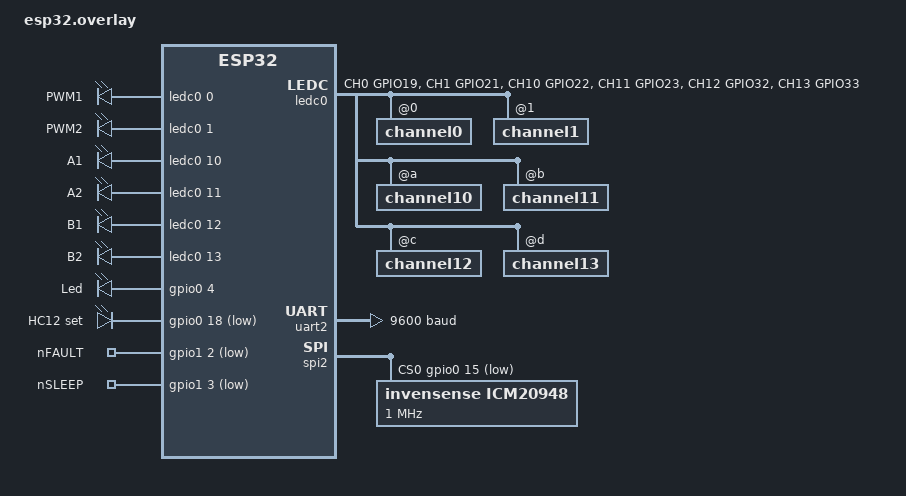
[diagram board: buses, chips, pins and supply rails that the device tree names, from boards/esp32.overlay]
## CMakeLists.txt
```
cmake_minimum_required(VERSION 3.20.0)
find_package(Zephyr REQUIRED HINTS $ENV{ZEPHYR_BASE})
project(robot-brain)

FILE(GLOB app_sources src/*.c)
target_sources(app PRIVATE ${app_sources})
```

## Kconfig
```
menu "Zephyr"
source "Kconfig.zephyr"
endmenu

module = BRAIN
module-str = BRAIN
source "subsys/logging/Kconfig.template.log_config"
```

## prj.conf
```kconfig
# pins
CONFIG_GPIO=y
CONFIG_PWM=y

# Set up logging
CONFIG_LOG=y
CONFIG_LOG_DEFAULT_LEVEL=0

# uart settings
CONFIG_SERIAL=y
CONFIG_UART_INTERRUPT_DRIVEN=y
CONFIG_UART_LINE_CTRL=y

# Motion sensor
CONFIG_SPI=n
CONFIG_SENSOR=n
CONFIG_ICM20948_DEBUG_SERVICE=n

# events
CONFIG_EVENTS=y

# bluetooth
CONFIG_BT=y
CONFIG_BT_SMP=y
CONFIG_BT_SIGNING=y
CONFIG_BT_PERIPHERAL=y
CONFIG_BT_DIS=y
CONFIG_BT_ATT_PREPARE_COUNT=5
CONFIG_BT_PRIVACY=y
CONFIG_BT_DEVICE_NAME="rupert"

# custom drivers
CONFIG_COMMAND_LIB=y
CONFIG_COMMAND_GATT=y
```

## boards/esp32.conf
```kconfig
# Use ledc pwm
CONFIG_PWM_LED_ESP32=y
```

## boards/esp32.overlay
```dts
#include <zephyr/dt-bindings/pwm/pwm.h>
#include <dt-bindings/pinctrl/esp32-pinctrl.h>

/ {
	aliases {
		led0 = &led0;
		a1 = &pwm_a1;
		a2 = &pwm_a2;
		b1 = &pwm_b1;
		b2 = &pwm_b2;
		weapon = &pwm2;
		hc12 = &uart2;
		hc12-set = &hc12_set;
		nfault = &nfault;
		nsleep = &nsleep;
		motion-sensor = &spi2;
	};

	pwm_pins {
		compatible = "pwm-leds";
		pwm1: pwm1_gpio19 {
			label = "PWM1";
			pwms = <&ledc0 0 0 PWM_POLARITY_NORMAL>;
		};
		pwm2: pwm2_gpio21 {
			label = "PWM2";
			pwms = <&ledc0 1 0 PWM_POLARITY_NORMAL>;
		};
		pwm_a1: pwm_a1_gpio22 {
			label = "A1";
			pwms = <&ledc0 10 0 PWM_POLARITY_NORMAL>;
		};
		pwm_a2: pwm_a2_gpio23 {
			label = "A2";
			pwms = <&ledc0 11 0 PWM_POLARITY_NORMAL>;
		};
		pwm_b1: pwm_b1_gpio32 {
			label = "B1";
			pwms = <&ledc0 12 0 PWM_POLARITY_NORMAL>;
		};
		pwm_b2: pwm_b2_gpio33 {
			label = "B2";
			pwms = <&ledc0 13 0 PWM_POLARITY_NORMAL>;
		};
	};

	output_pins {
		compatible = "gpio-leds";
		led0: led0 {
			label = "Led";
			gpios = <&gpio0 4 GPIO_ACTIVE_HIGH>;
		};
		hc12_set: hc12_set {
			label = "HC12 set";
			gpios = <&gpio0 18 GPIO_ACTIVE_LOW>;
		};
	};

	input_pins {
		compatible = "gpio-keys";
		nfault: nfault {
			label = "nFAULT";
        	gpios = <&gpio1 2 GPIO_ACTIVE_LOW>;
        };
		nsleep: nsleep {
			label = "nSLEEP";
        	gpios = <&gpio1 3 GPIO_ACTIVE_LOW>;
        };
	};
};

&pinctrl {
	ledc0_custom: ledc0_custom {
		group1 {
			pinmux = <LEDC_CH0_GPIO19>,  <LEDC_CH1_GPIO21>, // PWM pins
					 <LEDC_CH10_GPIO22>, <LEDC_CH11_GPIO23>, // Motor A
					 <LEDC_CH12_GPIO32>, <LEDC_CH13_GPIO33>; // Motor B
			output-enable;
		};
	};
};

&ledc0 {
	pinctrl-0 = <&ledc0_custom>;
	pinctrl-names = "default";
	status = "okay";
	#address-cells = <1>;
	#size-cells = <0>;
	channel0@0 {
		reg = <0x0>;
		timer = <0>;
	};
	channel1@1 {
		reg = <0x1>;
		timer = <0>;
	};
	channel10@a {
		reg = <0xa>;
		timer = <0>;
	};
	channel11@b {
		reg = <0xb>;
		timer = <0>;
	};
	channel12@c {
		reg = <0xc>;
		timer = <0>;
	};
	channel13@d {
		reg = <0xd>;
		timer = <0>;
	};
};

&uart1 {
	status = "disabled";
};

&uart2 {
	status = "okay";
	current-speed = <9600>;
	pinctrl-0 = <&uart2_default>;
	pinctrl-names = "default";
};

&gpio0 {
	status = "okay";
};

&gpio1 {
	status = "okay";
};

&spi2 {
	compatible = "espressif,esp32-spi";
	status = "okay";
	cs-gpios = <&gpio0 15 GPIO_ACTIVE_LOW>;
	icm20948@0 {
		compatible = "invensense,icm20948";
		spi-max-frequency = <1000000>;
		reg = <0>;
	};
};

&spi3 {
	status = "disabled";
};

&i2c0 {
	status = "disabled";
};
```

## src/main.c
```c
#include <zephyr/device.h>
#include <zephyr/drivers/gpio.h>
#include <zephyr/drivers/pwm.h>
#include <zephyr/drivers/sensor.h>
#include <zephyr/drivers/spi.h>
#include <zephyr/logging/log.h>

#include "motor.h"
#include <command_lib/gatt_command.h>

// Register logger
LOG_MODULE_REGISTER(brain);

// GPIO structs
const struct gpio_dt_spec led0 = GPIO_DT_SPEC_GET(DT_ALIAS(led0), gpios);
const struct gpio_dt_spec nsleep = GPIO_DT_SPEC_GET(DT_ALIAS(nsleep), gpios);
struct gpio_callback sleep_callback;

// Sensor
const struct device *motion_sensor = DEVICE_DT_GET(DT_ALIAS(motion_sensor));

struct motor_control motor_a = {
    .en1 = PWM_DT_SPEC_GET(DT_ALIAS(a1)),
    .en2 = PWM_DT_SPEC_GET(DT_ALIAS(a2)),
};

struct motor_control motor_b = {
    .en1 = PWM_DT_SPEC_GET(DT_ALIAS(b1)),
    .en2 = PWM_DT_SPEC_GET(DT_ALIAS(b2)),
};

// Create workthread
K_THREAD_STACK_DEFINE(main_workthread_area, 512);
static struct k_work_q work_q;

/**
 * @brief Blink led0
 */
void blink() {
    gpio_pin_set_dt(&led0, 1);
    k_msleep(50);
    gpio_pin_set_dt(&led0, 0);
}

// Define blink worker
K_WORK_DEFINE(blink_worker, blink);

/**
 * @brief Blink led0 in workthread
 */
static inline void blink_wt() { k_work_submit(&blink_worker); }

/**
 * @brief Thread function that reads new messages and acts upon them
 *   This function is supposed to be used in a thread
 */
static void message_handler(void *p1, void *p2, void *p3) {
    ARG_UNUSED(p1);
    ARG_UNUSED(p2);
    ARG_UNUSED(p3);
    // Receive incoming commands
    struct command_data command;
    while (true) {
        if (get_command(&command) != 0) {
            // Did not receive command before timeout, turn motors off
            dc_motor_off(&motor_a);
            dc_motor_off(&motor_b);
            LOG_WRN("Command timed out, turn motor and weapon off");
            continue;
        }
        LOG_INF("New command %d (id %d) with value %d", command.key, command.id,
                command.value);
        blink_wt();
        switch (command.key) {
        case error_command: // an error ocurred!
            // acknowledge command, even though an error occurred
            set_ack(command.id);
            LOG_WRN("Warning: received error command (error %d)",
                    command.value);
            break;

        case ack_command: // set ack event when receiving ack
            set_ack(command.id);
            break;

        case ping_command: // ack ping command
            send_ack(command, 0);
            break;

        case left_motor_command:
            set_speed(&motor_a, command.value);
            send_ack(command, 0);
            break;

        case right_motor_command:
            set_speed(&motor_b, command.value);
            send_ack(command, 0);
            break;

        default: // unrecognized command, send error
            send_error(command, error_unrecognized);
            LOG_WRN("Warning: Unrecognized command");
            break;
        }
    }
}

// Define thread for handling incoming messages
#define MSGTHREAD_SIZE 1408
#define MSGTHREAD_PRI 4
K_THREAD_DEFINE(msg_handler_tid, MSGTHREAD_SIZE, message_handler, NULL, NULL,
                NULL, MSGTHREAD_PRI, 0, 0);

static void sleep_worker_func() {
    static int sleep_mode = 0;
    // 50ms debounce protection!
    k_msleep(50);
    // Read nsleep pin to see if device should sleep or wake up
    int state = gpio_pin_get_dt(&nsleep);
    if (state < 0) {
        LOG_ERR("Error %d: failed to read %s pin %d", state, nsleep.port->name,
                nsleep.pin);
    }
    // Return if sleep mode is equal to state
    if (sleep_mode == state) {
        return;
    }
    // Save state so it does not duplicate
    sleep_mode = state;
    if (sleep_mode) {
        // Stop communication
        k_thread_suspend(msg_handler_tid);
        // Turn off motors and weapon
        dc_motor_off(&motor_a);
        dc_motor_off(&motor_b);
        LOG_INF("Sleep mode on");
    } else {
        k_thread_resume(msg_handler_tid);
        LOG_INF("Sleep mode off");
    }
    blink();
}

// Define sleep worker
// (sleep and wake device in workthread, not interrupt)
K_WORK_DEFINE(sleep_worker, sleep_worker_func);

/**
 * @brief Callback for sleep-pin interrupt on sleep
 */
static void sleep_handler(const struct device *port, struct gpio_callback *cb,
                          uint32_t pins) {
    ARG_UNUSED(port);
    ARG_UNUSED(cb);
    ARG_UNUSED(pins);
    k_work_submit(&sleep_worker);
}

void main(void) {
    // Save error codes during initialization
    int err;

    // Init and start workqueue
    k_work_queue_init(&work_q);
    k_work_queue_start(&work_q, main_workthread_area,
                       K_THREAD_STACK_SIZEOF(main_workthread_area), 5, NULL);

    // Init motor control
    dc_motor_init(&motor_a, 0);
    dc_motor_init(&motor_b, 1);

    // Start bluetooth service
    peripheral_enable();

    // Configure nsleep pin and add sleep callback to it
    err = gpio_pin_configure_dt(&nsleep, GPIO_INPUT);
    if (err) {
        LOG_ERR("Error %d: failed to configure %s pin %d", err,
                nsleep.port->name, nsleep.pin);
    } else {
        // Check for sleep mode at initialization
        k_work_submit(&sleep_worker);
    }
    err = gpio_pin_interrupt_configure_dt(&nsleep, GPIO_INT_EDGE_BOTH);
    if (err) {
        LOG_ERR("Error %d: failed to configure interrupt on %s pin %d", err,
                nsleep.port->name, nsleep.pin);
    }
    gpio_init_callback(&sleep_callback, sleep_handler, BIT(nsleep.pin));
    err = gpio_add_callback(nsleep.port, &sleep_callback);
    if (err) {
        LOG_ERR("Error %d: failed to add callback to %s", err,
                nsleep.port->name);
    }

    // Init led0
    err = gpio_pin_configure_dt(&led0, GPIO_OUTPUT_INACTIVE);
    if (err) {
        LOG_ERR("Error %d: failed to configure %s pin %d", err, led0.port->name,
                led0.pin);
    }

    // Blink led when ready
    blink_wt();
    LOG_INF("Setup finished");
}
```

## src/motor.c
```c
#include "motor.h"

// Use logger from main.c
LOG_MODULE_DECLARE(brain);

// How much the speed will chenge each interval
#define DC_MOTOR_SPEED_STEP 10
#define BL_MOTOR_SPEED_STEP 2

// Length of delay between each change of speed
#define DC_MOTOR_SPEED_INTERVAL K_MSEC(40)
#define BL_MOTOR_SPEED_INTERVAL K_MSEC(20)

// Create threads for gradually controlling motor speed
#define STACK_SIZE 512
#define THREAD_PRIORITY 5
#define NUM_THREADS 2
// Structs for motor control threads
static struct k_thread motor_threads[NUM_THREADS];
// Define stack area for motor threads
K_THREAD_STACK_ARRAY_DEFINE(stacks, NUM_THREADS, STACK_SIZE);

// Define brushless and dc motor pwm periods
static const uint32_t DC_MOTOR_PERIOD = PWM_MSEC(1U);
static const uint32_t BL_MOTOR_PERIOD = PWM_MSEC(20U);
static const uint32_t BL_MOTOR_PULSE_MID = PWM_USEC(1500);
static const uint32_t BL_MOTOR_PULSE_RANGE = PWM_USEC(500U);
static const uint32_t BL_MOTOR_PULSE_MIN =
    BL_MOTOR_PULSE_MID - BL_MOTOR_PULSE_RANGE;
static const uint32_t BL_MOTOR_PULSE_MAX =
    BL_MOTOR_PULSE_MID + BL_MOTOR_PULSE_RANGE;

void dc_motor_init(struct motor_control *motor, int motor_index) {
    if (motor_index > NUM_THREADS - 1) {
        LOG_ERR(
            "Could not initialize motor with index %d. Can only have %d motors",
            motor_index, NUM_THREADS);
        return;
    }
    motor->speed = 127;
    motor->set_speed_func = &set_dc_motor_speed;
    motor->speed_step = DC_MOTOR_SPEED_STEP;
    motor->interval = DC_MOTOR_SPEED_INTERVAL;
    motor->thread =
        k_thread_create(&motor_threads[motor_index], stacks[motor_index],
                        STACK_SIZE, motor_speed_thread_callback, motor, NULL,
                        NULL, THREAD_PRIORITY, 0, K_NO_WAIT);
    set_dc_motor_speed(&motor->en1, &motor->en2, motor->speed);
}

void bl_motor_init(struct motor_control *motor, int motor_index) {
    if (motor_index > NUM_THREADS - 1) {
        LOG_ERR(
            "Could not initialize motor with index %d. Can only have %d motors",
            motor_index, NUM_THREADS);
        return;
    }
    motor->speed = 127;
    motor->set_speed_func = &set_bl_motor_speed;
    motor->speed_step = BL_MOTOR_SPEED_STEP;
    motor->interval = BL_MOTOR_SPEED_INTERVAL;
    motor->thread =
        k_thread_create(&motor_threads[motor_index], stacks[motor_index],
                        STACK_SIZE, motor_speed_thread_callback, motor, NULL,
                        NULL, THREAD_PRIORITY, 0, K_NO_WAIT);
    set_bl_motor_speed(&motor->en1, NULL, motor->speed);
}

void dc_motor_off(struct motor_control *motor) {
    pwm_set_dt(&motor->en1, DC_MOTOR_PERIOD, 0);
    pwm_set_dt(&motor->en2, DC_MOTOR_PERIOD, 0);
    motor->speed = 127;
}

void bl_motor_off(struct motor_control *motor) {
    pwm_set_dt(&motor->en1, BL_MOTOR_PERIOD, BL_MOTOR_PULSE_MID);
    motor->speed = 127;
}

void set_speed(struct motor_control *motor, uint8_t speed_u) {
    motor->speed = speed_u;
    k_thread_resume(motor->thread);
}

int32_t convert_speed(uint8_t speed_u) {
    int32_t speed = speed_u - 127;
    if (speed > 100) {
        speed = 100;
    } else if (speed < -100) {
        speed = -100;
    }
    return speed;
}

int set_dc_motor_speed(const struct pwm_dt_spec *en1,
                       const struct pwm_dt_spec *en2, uint8_t speed_u) {
    int32_t speed = convert_speed(speed_u);
    uint32_t pulse;
    int err1, err2;
    if (speed == 0) {
        err1 = pwm_set_dt(en1, DC_MOTOR_PERIOD, 0);
        err2 = pwm_set_dt(en2, DC_MOTOR_PERIOD, 0);
    } else if (speed > 0) {
        pulse = speed * ((DC_MOTOR_PERIOD - 1) / 100);
        if (pulse > DC_MOTOR_PERIOD) {
            pulse = DC_MOTOR_PERIOD;
        }
        err1 = pwm_set_dt(en1, DC_MOTOR_PERIOD, pulse);
        err2 = pwm_set_dt(en2, DC_MOTOR_PERIOD, 0);
    } else {
        speed = -1 * speed;
        pulse = speed * ((DC_MOTOR_PERIOD - 1) / 100);
        if (pulse > DC_MOTOR_PERIOD) {
            pulse = DC_MOTOR_PERIOD;
        }
        err1 = pwm_set_dt(en1, DC_MOTOR_PERIOD, 0);
        err2 = pwm_set_dt(en2, DC_MOTOR_PERIOD, pulse);
    }
    return err1 | err2;
}

int set_bl_motor_speed(const struct pwm_dt_spec *en1,
                       const struct pwm_dt_spec *en2, uint8_t speed_u) {
    ARG_UNUSED(en2);
    int32_t speed = convert_speed(speed_u);
    uint32_t pulse_offset = speed * (BL_MOTOR_PULSE_RANGE / 100);
    uint32_t pulse = BL_MOTOR_PULSE_MID + pulse_offset;
    if (pulse > BL_MOTOR_PULSE_MAX) {
        pulse = BL_MOTOR_PULSE_MAX;
    } else if (pulse < BL_MOTOR_PULSE_MIN) {
        pulse = BL_MOTOR_PULSE_MIN;
    }
    return pwm_set_dt(en1, BL_MOTOR_PERIOD, pulse);
}

void motor_speed_thread_callback(void *p1, void *p2, void *p3) {
    // Motor control struct
    struct motor_control *motor = p1;
    // Thread id of this thread
    k_tid_t thread_id = motor->thread;
    // Speed-step of this motor
    uint8_t step = motor->speed_step;
    // Timoeut of this function
    k_timeout_t interval = motor->interval;
    // Variable to keep desired speed, current speed and the difference
    uint8_t speed_u;
    uint8_t current_speed_u = 127;
    int16_t difference;
    // Callback function for setting the speed
    int (*set_speed_func)(const struct pwm_dt_spec *,
                          const struct pwm_dt_spec *, uint8_t) =
        motor->set_speed_func;

    while (true) {
        // Suspend before run
        if (motor->speed == current_speed_u) {
            k_thread_suspend(thread_id);
        }

        // Motor speed (unsigned)
        speed_u = motor->speed;

        if (speed_u < 27) {
            speed_u = 27;
        } else if (speed_u > 227) {
            speed_u = 227;
        }
        while (speed_u != current_speed_u) {
            speed_u = motor->speed;
            difference = speed_u - current_speed_u;
            if (difference > step) {
                difference = step;
            } else if (difference < -step) {
                difference = -step;
            }
            current_speed_u += difference;
            (*set_speed_func)(&motor->en1, &motor->en2, current_speed_u);
            k_sleep(interval);
        }
    }
}
```

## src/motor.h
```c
#ifndef MOTOR_H
#define MOTOR_H

#include <zephyr/drivers/pwm.h>
#include <zephyr/kernel.h>
#include <zephyr/logging/log.h>

/** @brief Structure for motor control. */
struct motor_control {
    /* ID of thread that controls motor */
    k_tid_t thread;
    /* Desired speed of motor, represented in unsigned format */
    uint8_t speed;
    /* Callback function for setting the speed of the motor */
    int (*set_speed_func)(const struct pwm_dt_spec *,
                          const struct pwm_dt_spec *, uint8_t);
    /* First enable pin of motor */
    const struct pwm_dt_spec en1;
    /* Second enable pin of motor */
    const struct pwm_dt_spec en2;
    /* Speed step for motor */
    uint8_t speed_step;
    /* Motor speed-set interval */
    k_timeout_t interval;
};

/**
 * @brief Initialize threads and structs for dc motor
 *
 * @param motor motor_control struct
 * @param motor_index index of motor, start with 0 and add 1 for each motor
 * initialized
 */
void dc_motor_init(struct motor_control *motor, int motor_index);

/**
 * @brief Initialize threads and structs for brushless motor
 *
 * @param motor motor_control struct
 * @param motor_index index of motor, start with 0 and add 1 for each motor
 * initialized
 */
void bl_motor_init(struct motor_control *motor, int motor_index);

/**
 * @brief Set 0 duty cycle to dc motor
 *
 * @param motor motor_control struct of relevant motor
 */
void dc_motor_off(struct motor_control *motor);

/**
 * @brief Set 0 speed to brushless motor
 *
 * @param motor motor_control struct of relevant motor
 */
void bl_motor_off(struct motor_control *motor);

/**
 * @brief Set speed of a motor
 *
 * @param motor motor_control struct that decides how motor speed will be set.
 * @param speed_u Speed of motor represented by unsigned integer.
 */
void set_speed(struct motor_control *motor, uint8_t speed_u);

/**
 * @brief Set speed of DC motor via motor driver.
 *   (This function is intended to be used as a callback function
 *    in motor_control struct)
 *
 * @param en1 Enable pin 1 for DC motor
 * @param en2 Enable pin 2 for DC motor
 * @param speed_u Speed represented in unsigned format
 * @return int Return status according to `pwm_set_dt` function.
 */
int set_dc_motor_speed(const struct pwm_dt_spec *en1,
                       const struct pwm_dt_spec *en2, uint8_t speed_u);

/**
 * @brief Set speed of brushless motor via ESC.
 *   (This function is intended to be used as a callback function
 *    in motor_control struct)
 *
 * @param en1 PWM pin
 * @param en2 Unused
 * @param speed_u Speed represented in unsigned format
 * @return int Return status according to `pwm_set_dt` function.
 */
int set_bl_motor_speed(const struct pwm_dt_spec *weapon_pin,
                       const struct pwm_dt_spec *unused, uint8_t speed_u);

/**
 * @brief Callback for motor control threads.
 *   This function is run in a thread for each motor to control their speed
 *   gradually.
 *
 * @param p1 motor_controller struct
 * @param p2 Unused
 * @param p3 Unused
 */
void motor_speed_thread_callback(void *p1, void *p2, void *p3);

#endif
```
